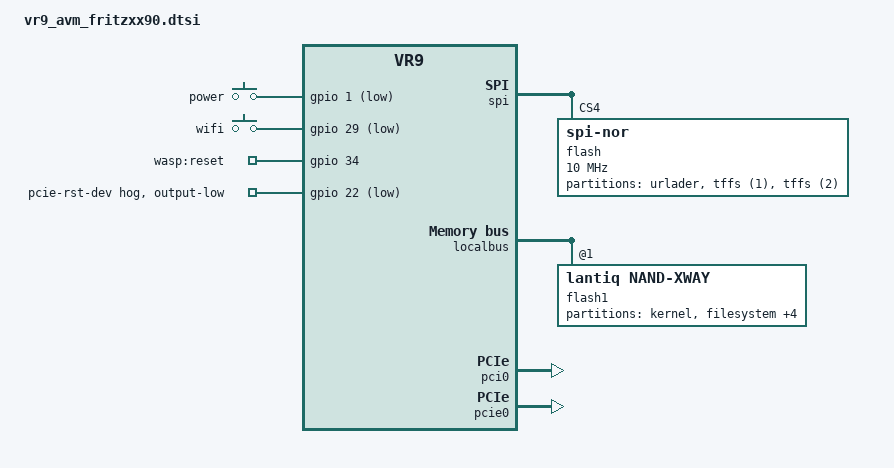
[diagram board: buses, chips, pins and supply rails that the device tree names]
// SPDX-License-Identifier: GPL-2.0-or-later OR MIT

#include "vr9.dtsi"

#include <dt-bindings/input/input.h>
#include <dt-bindings/mips/lantiq_rcu_gphy.h>

/ {
	compatible = "avm,fritzxx90", "lantiq,xway", "lantiq,vr9";

	chosen {
		bootargs = "console=ttyLTQ0,115200";
	};

	keys {
		compatible = "gpio-keys-polled";
		poll-interval = <100>;

		power {
			label = "power";
			gpios = <&gpio 1 GPIO_ACTIVE_LOW>;
			linux,code = <KEY_POWER>;
		};

		wifi {
			label = "wifi";
			gpios = <&gpio 29 GPIO_ACTIVE_LOW>;
			linux,code = <KEY_RFKILL>;
		};
	};

	gpio-export {
		compatible = "gpio-export";

		gpio_wasp_reset {
			gpio-export,name = "wasp:reset";
			gpio-export,output = <1>;
			gpios = <&gpio 34 GPIO_ACTIVE_HIGH>;
		};
	};
};

&gpio {
	pinctrl-names = "default";
	pinctrl-0 = <&state_default>;
	gpio-ranges = <&gpio 0 0 56>;

	state_default: pinmux {
		phy-rst {
			lantiq,pins = "io32", "io44";
			lantiq,pull = <0>;
			lantiq,open-drain;
			lantiq,output = <1>;
		};

		pcie-rst {
			lantiq,pins = "io21";
			lantiq,open-drain;
			lantiq,output = <1>;
		};
	};

	pcie-rst-dev {
		gpio-hog;
		line-name = "pcie-rst-dev";
		gpios = <22 GPIO_ACTIVE_LOW>;
		output-low;
	};
};

&spi {
	status = "okay";

	flash@4 {
		compatible = "jedec,spi-nor";
		reg = <4>;
		spi-max-frequency = <10000000>;

		partitions {
			compatible = "fixed-partitions";
			#address-cells = <1>;
			#size-cells = <1>;

			urlader: partition@0 {
				reg = <0x0 0x40000>;
				label = "urlader";
				read-only;
			};

			partition@20000 {
				reg = <0x40000 0x60000>;
				label = "tffs (1)";
				read-only;
			};

			partition@30000 {
				reg = <0xa0000 0x60000>;
				label = "tffs (2)";
				read-only;
			};
		};
	};
};

&localbus {
	flash1: flash@1 {
		compatible = "lantiq,nand-xway";
		bank-width = <2>;
		reg = <0x1 0x0 0x2000000>;

		nand-ecc-engine = <&flash1>;

		partitions {
			compatible = "fixed-partitions";
			#address-cells = <1>;
			#size-cells = <1>;

			partition@0 {
				label = "kernel";
				reg = <0x0 0x400000>;
			};

			partition@400000 {
				label = "filesystem";
				reg = <0x400000 0x3000000>;
			};

			partition@3400000 {
				label = "reserved-kernel";
				reg = <0x3400000 0x400000>;
			};

			partition@3800000 {
				label = "reserved-filesystem";
				reg = <0x3800000 0x3000000>;
			};

			partition@6800000 {
				label = "config";
				reg = <0x6800000 0x200000>;
			};

			partition@6a00000 {
				label = "ubi"; /* nand-filesystem */
				reg = <0x6a00000 0x19600000>;
			};
		};
	};
};


&pci0 {
	status = "okay";
};

&pcie0 {
	status = "okay";

	gpio-reset = <&gpio 21 GPIO_ACTIVE_LOW>;
	lantiq,switch-pcie-endianess;
};
